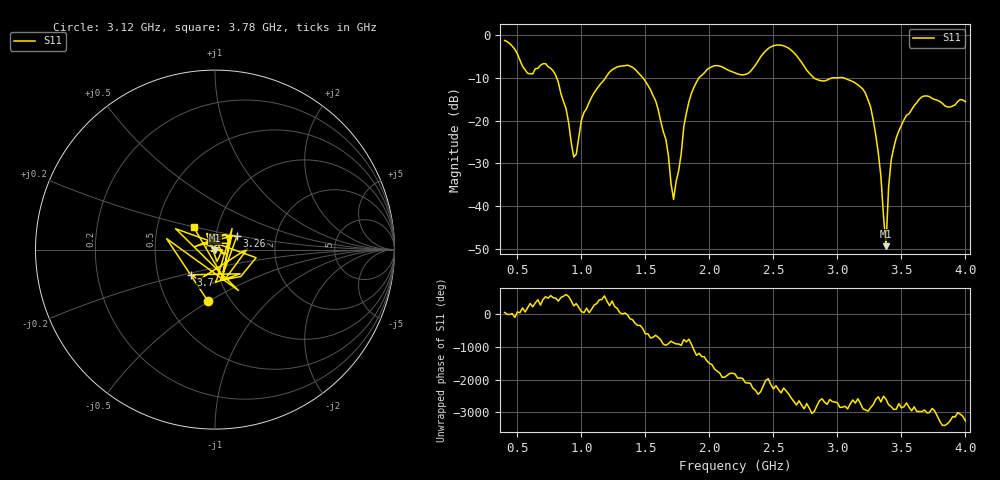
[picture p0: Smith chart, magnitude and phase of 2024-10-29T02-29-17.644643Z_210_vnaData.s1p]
!Created with skrf (http://scikit-rf.org).
# Hz S RI R 50.0
!freq ReS11 ImS11
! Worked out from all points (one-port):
!   181 points, 400 MHz to 4 GHz, reference 50 ohm
!   lowest |S11| = -49.4 dB at 3.38 GHz (marker M1), VSWR 1.01, Z = 50.1 - j0.331 ohm
!   |S11| at or under -10 dB: 807.3 MHz to 1.188 GHz (380.4 MHz wide, 38.1 % of centre); 1.482 GHz to 1.918 GHz (435.9 MHz wide, 25.6 % of centre); 3.05 GHz to end of sweep (the widest 3 of 4)
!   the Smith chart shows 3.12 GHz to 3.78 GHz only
!   S11 on the Smith chart (normalised r, x): 3.12 GHz: 0.79, -0.49; 3.26 GHz: 1.26, +0.19; 3.7 GHz: 0.74, -0.21; 3.78 GHz: 0.76, +0.20
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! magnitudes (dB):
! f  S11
! 400 MHz  -1.2
! 580 MHz  -8.9
! 760 MHz  -7.7
! 860 MHz  -15.5
! 940 MHz  -28.5
! 1.08 GHz  -14.5
! 1.3 GHz  -7.3
! 1.58 GHz  -15.4
! 1.66 GHz  -24.4
! 1.72 GHz  -38.5
! 1.76 GHz  -31.7
! 1.82 GHz  -18.2
! 1.92 GHz  -9.9
! 2.2 GHz  -8.8
! 2.5 GHz  -2.5
! 2.66 GHz  -4.1
! 2.82 GHz  -10.1
! 3.1 GHz  -10.6
! 3.12 GHz  -10.8
! 3.26 GHz  -16.9
! 3.34 GHz  -33.1
! 3.38 GHz  -49.4
! 3.4 GHz  -35.6
! 3.42 GHz  -29.3
! 3.56 GHz  -18.4
! 3.7 GHz  -14.2
! 3.78 GHz  -15.2
! 4 GHz  -15.6
